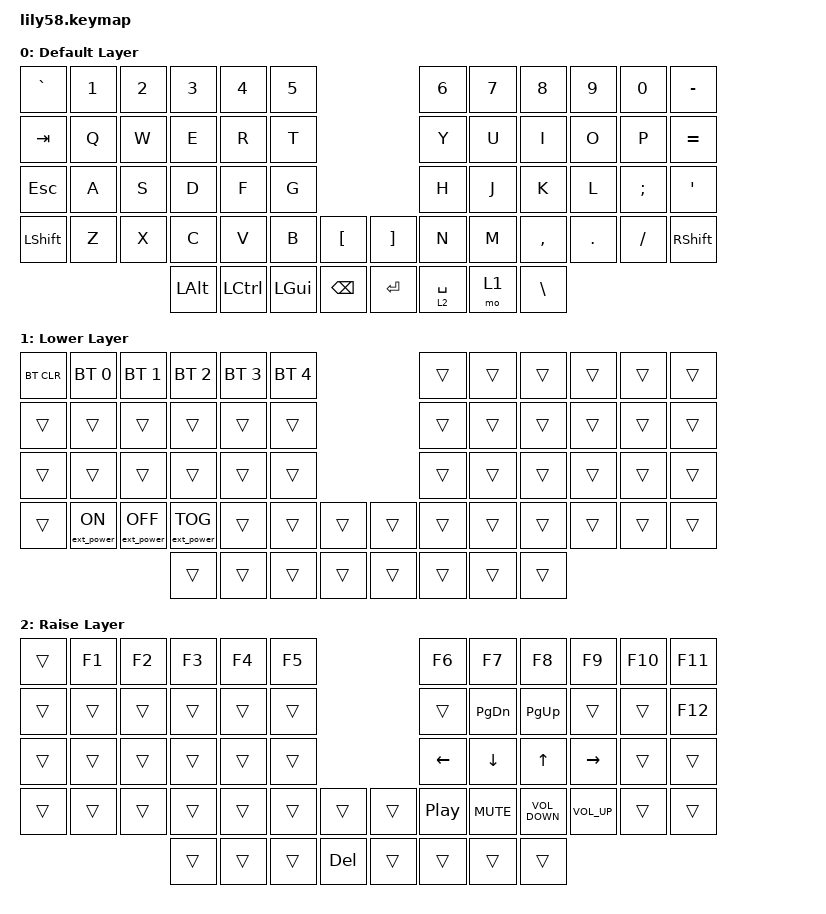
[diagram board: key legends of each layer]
/*
 * Copyright (c) 2020 The ZMK Contributors
 *
 * SPDX-License-Identifier: MIT
 */

#include <behaviors.dtsi>
#include <dt-bindings/zmk/bt.h>
#include <dt-bindings/zmk/ext_power.h>
#include <dt-bindings/zmk/keys.h>

/ {
    keymap {
        compatible = "zmk,keymap";

        default_layer {
            display-name = "Default Layer";
            bindings = <
&kp GRAVE   &kp N1  &kp N2  &kp N3    &kp N4            &kp N5                                &kp N6       &kp N7  &kp N8         &kp N9   &kp N0    &kp MINUS
&kp TAB     &kp Q   &kp W   &kp E     &kp R             &kp T                                 &kp Y        &kp U   &kp I          &kp O    &kp P     &kp EQUAL
&kp ESCAPE  &kp A   &kp S   &kp D     &kp F             &kp G                                 &kp H        &kp J   &kp K          &kp L    &kp SEMI  &kp SQT
&kp LSHFT   &kp Z   &kp X   &kp C     &kp V             &kp B     &kp LBKT         &kp RBKT   &kp N        &kp M   &kp COMMA      &kp DOT  &kp FSLH  &kp RSHFT
                            &kp LALT  &kp LEFT_CONTROL  &kp LGUI  &kp BACKSPACE    &kp ENTER  &lt 2 SPACE  &mo 1   &kp BACKSLASH
            >;
        };

        lower_layer {
            display-name = "Lower Layer";
            bindings = <
&bt BT_CLR  &bt BT_SEL 0      &bt BT_SEL 1       &bt BT_SEL 2       &bt BT_SEL 3  &bt BT_SEL 4                    &trans  &trans  &trans  &trans  &trans  &trans
&trans      &trans            &trans             &trans             &trans        &trans                          &trans  &trans  &trans  &trans  &trans  &trans
&trans      &trans            &trans             &trans             &trans        &trans                          &trans  &trans  &trans  &trans  &trans  &trans
&trans      &ext_power EP_ON  &ext_power EP_OFF  &ext_power EP_TOG  &trans        &trans        &trans    &trans  &trans  &trans  &trans  &trans  &trans  &trans
                                                 &trans             &trans        &trans        &trans    &trans  &trans  &trans  &trans
            >;
        };

        raise_layer {
            display-name = "Raise Layer";
            bindings = <
&trans  &kp F1  &kp F2  &kp F3  &kp F4  &kp F5                        &kp F6            &kp F7         &kp F8             &kp F9           &kp F10  &kp F11
&trans  &trans  &trans  &trans  &trans  &trans                        &trans            &kp PAGE_DOWN  &kp PAGE_UP        &trans           &trans   &kp F12
&trans  &trans  &trans  &trans  &trans  &trans                        &kp LEFT          &kp DOWN       &kp UP             &kp RIGHT        &trans   &trans
&trans  &trans  &trans  &trans  &trans  &trans  &trans        &trans  &kp C_PLAY_PAUSE  &kp C_MUTE     &kp C_VOLUME_DOWN  &kp C_VOLUME_UP  &trans   &trans
                        &trans  &trans  &trans  &kp DELETE    &trans  &trans            &trans         &trans
            >;
        };
    };
};
